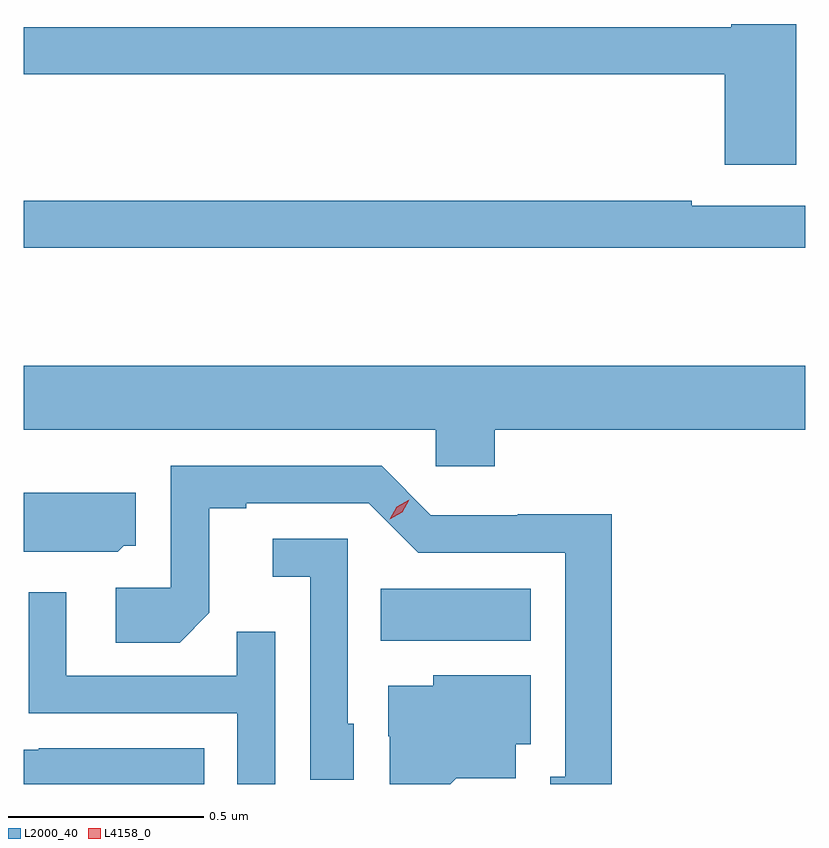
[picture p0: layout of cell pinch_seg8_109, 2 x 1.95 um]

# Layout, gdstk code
import gdstk
lib = gdstk.Library(unit=1e-6, precision=1e-09)
def R(c, l, rs):  # rectangles x0, y0, x1, y1
    for r in rs: c.add(gdstk.rectangle(r[:2], r[2:], *l))
def P(c, l, *ps):  # polygons
    for p in ps: c.add(gdstk.Polygon(p, *l))
L2000_40 = (2000, 40)
L4158_0 = (4158, 0)

pinch_seg8_109 = lib.new_cell('pinch_seg8_109')
R(pinch_seg8_109, L2000_40, [(1033.582,1090.652,1033.966,1090.786)])
P(pinch_seg8_109, L2000_40, [(1034.645,1092.231),(1034.478,1092.231),(1034.478,1092.223),(1032.668,1092.223),(1032.668,1092.102),(1034.462,1092.102),(1034.462,1091.871),(1034.645,1091.871)],
  [(1034.668,1091.766),(1034.378,1091.766),(1034.378,1091.779),(1032.668,1091.779),(1032.668,1091.658),(1034.668,1091.658)],
  [(1032.668,1091.192),(1033.722,1091.192),(1033.722,1091.099),(1033.874,1091.099),(1033.874,1091.192),(1034.668,1091.192),(1034.668,1091.356),(1032.668,1091.356)],
  [(1034.173,1090.976),(1033.932,1090.976),(1033.932,1090.974),(1033.71,1090.974),(1033.584,1091.1),(1033.044,1091.1),(1033.044,1090.788),(1032.903,1090.788),(1032.903,1090.648),(1033.067,1090.648),(1033.143,1090.724),(1033.143,1090.992),(1033.237,1090.992),(1033.237,1091.004),(1033.551,1091.004),(1033.677,1090.878),(1034.054,1090.878),(1034.054,1090.305),(1034.015,1090.305),(1034.015,1090.286),(1034.173,1090.286)],
  [(1032.924,1090.896),(1032.955,1090.896),(1032.955,1091.032),(1032.668,1091.032),(1032.668,1090.881),(1032.774,1090.881),(1032.774,1090.88),(1032.908,1090.88)],
  [(1033.512,1090.44),(1033.497,1090.44),(1033.497,1090.914),(1033.305,1090.914),(1033.305,1090.817),(1033.401,1090.817),(1033.401,1090.297),(1033.512,1090.297)],
  [(1033.311,1090.676),(1033.213,1090.676),(1033.213,1090.563),(1032.777,1090.563),(1032.777,1090.777),(1032.681,1090.777),(1032.681,1090.467),(1033.215,1090.467),(1033.215,1090.286),(1033.311,1090.286)],
  [(1033.775,1090.301),(1033.927,1090.301),(1033.927,1090.388),(1033.966,1090.388),(1033.966,1090.564),(1033.716,1090.564),(1033.716,1090.537),(1033.601,1090.537),(1033.601,1090.408),(1033.605,1090.408),(1033.605,1090.286),(1033.76,1090.286)],
  [(1033.13,1090.378),(1032.706,1090.378),(1032.706,1090.374),(1032.668,1090.374),(1032.668,1090.286),(1033.13,1090.286)])
P(pinch_seg8_109, L4158_0, [(1033.605,1090.964),(1033.605,1090.964),(1033.623,1090.996),(1033.655,1091.014),(1033.655,1091.014),(1033.655,1091.014),(1033.637,1090.982),(1033.605,1090.964)])

lib.write_gds('pinch_seg8_109.gds')
